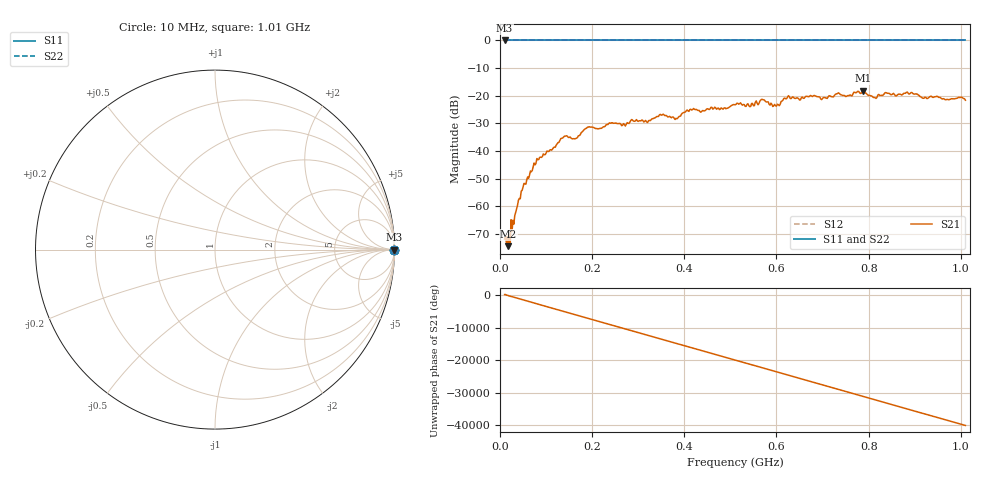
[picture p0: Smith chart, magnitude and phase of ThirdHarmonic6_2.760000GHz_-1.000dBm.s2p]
! 8/17/2025 6:57:39 AM
! C:\ANRITSUVNA\TEMP\TEMP.S2P
! CHANNEL.1
! TR.MEASUREMENT
! RAW.DATA
! RF.CORRECTION.OFF
! AVERAGING.OFF
! IF.BANDWIDTH: 5KHZ
! SWEEPTYPE:  FREQ.SWEEP(Linear)
! Reference Plane Port Info
! PORT:  PORT1  PORT2
! DISTANCE:  0  m  0  m
! TIME:  0  s  0  s
! PHASE.OFFSET:  0  deg.  0  deg.
! LOSS:  0  dB  0  dB
! REF.LOSS:  0  dB  0  dB
! REF.FREQ:  0  Hz  0  Hz
! Power Info
! POWER:  -20  dBm  -20  dBm
! EFF.POWER:  -20  dBm  -20  dBm
! SOURCE.ATTEN:  0  dB  0  dB
! TEST.ATTEN:  0  dB  0  dB
# GHZ S RI R 50.0
! FREQ.GHZ  S11RE  S11IM  S21RE  S21IM  S12RE  S12IM  S22RE  S22IM
!; PortSelection: Port_12
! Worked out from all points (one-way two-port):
!   501 points, 10 MHz to 1.01 GHz, reference 50 ohm
!   highest |S21| = -18.23 dB at 788 MHz (marker M1); lowest = -74.5 dB at 18 MHz (marker M2)
!   lowest |S11| = 0.0 dB at 10 MHz (marker M3)
!   |S11| at or under -10 dB: nowhere
!   |S22| runs from 0.0 to 0.0 dB; largest |S21 - S12| = 1.1
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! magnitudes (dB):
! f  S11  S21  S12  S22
! 10 MHz  0.0  -71.9  0.0  0.0
! 18 MHz  0.0  -74.5  0.0  0.0
! 50 MHz  0.0  -53.0  0.0  0.0
! 78 MHz  0.0  -44.5  0.0  0.0
! 136 MHz  0.0  -35.3  0.0  0.0
! 164 MHz  0.0  -35.5  0.0  0.0
! 178 MHz  0.0  -33.2  0.0  0.0
! 194 MHz  0.0  -31.2  0.0  0.0
! 322 MHz  0.0  -29.2  0.0  0.0
! 344 MHz  0.0  -27.5  0.0  0.0
! 382 MHz  0.0  -28.2  0.0  0.0
! 416 MHz  0.0  -25.2  0.0  0.0
! 510 MHz  0.0  -23.3  0.0  0.0
! 546 MHz  0.0  -22.8  0.0  0.0
! 570 MHz  0.0  -21.4  0.0  0.0
! 596 MHz  0.0  -23.1  0.0  0.0
! 624 MHz  0.0  -20.5  0.0  0.0
! 678 MHz  0.0  -20.3  0.0  0.0
! 788 MHz  0.0  -18.2  0.0  0.0
! 814 MHz  0.0  -20.7  0.0  0.0
! 844 MHz  0.0  -19.1  0.0  0.0
! 1.01 GHz  0.0  -21.6  0.0  0.0
